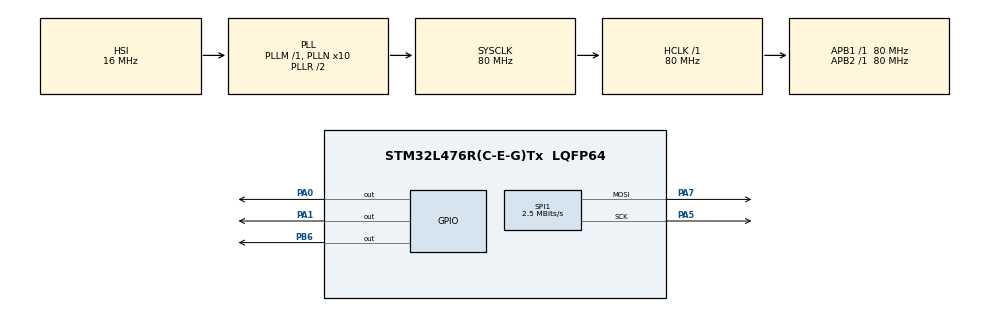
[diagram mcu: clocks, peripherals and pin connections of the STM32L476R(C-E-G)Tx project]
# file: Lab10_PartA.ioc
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Mcu.Family=STM32L4
Mcu.Name=STM32L476R(C-E-G)Tx
Mcu.Package=LQFP64
NVIC.PriorityGroup=NVIC_PRIORITYGROUP_4
PA0.Signal=GPIO_Output
PA1.Signal=GPIO_Output
PA13\ (JTMS-SWDIO).GPIO_Label=TMS
PA13\ (JTMS-SWDIO).Mode=Serial_Wire
PA13\ (JTMS-SWDIO).Signal=SYS_JTMS-SWDIO
PA14\ (JTCK-SWCLK).GPIO_Label=TCK
PA14\ (JTCK-SWCLK).Mode=Serial_Wire
PA14\ (JTCK-SWCLK).Signal=SYS_JTCK-SWCLK
PA5.Mode=TX_Only_Simplex_Unidirect_Master
PA5.Signal=SPI1_SCK
PA7.Mode=TX_Only_Simplex_Unidirect_Master
PA7.Signal=SPI1_MOSI
PB3\ (JTDO-TRACESWO).GPIO_Label=SWO
PB3\ (JTDO-TRACESWO).Signal=SYS_JTDO-SWO
PB6.Signal=GPIO_Output
PC14-OSC32_IN\ (PC14).Mode=LSE-External-Oscillator
PC14-OSC32_IN\ (PC14).Signal=RCC_OSC32_IN
PC15-OSC32_OUT\ (PC15).Mode=LSE-External-Oscillator
PC15-OSC32_OUT\ (PC15).Signal=RCC_OSC32_OUT
PH0-OSC_IN\ (PH0).Signal=RCC_OSC_IN
PH1-OSC_OUT\ (PH1).Signal=RCC_OSC_OUT
ProjectManager.HeapSize=0x200
ProjectManager.StackSize=0x400
ProjectManager.TargetToolchain=STM32CubeIDE
RCC.ADCFreq_Value=64000000
RCC.AHBFreq_Value=80000000
RCC.APB1Freq_Value=80000000
RCC.APB1TimFreq_Value=80000000
RCC.APB2Freq_Value=80000000
RCC.APB2TimFreq_Value=80000000
RCC.CortexFreq_Value=80000000
RCC.HCLKFreq_Value=80000000
RCC.HSE_VALUE=8000000
RCC.HSI_VALUE=16000000
RCC.MSI_VALUE=4000000
RCC.PLLN=10
RCC.PLLSourceVirtual=RCC_PLLSOURCE_HSI
RCC.PREFETCH_ENABLE=1
RCC.SYSCLKFreq_VALUE=80000000
RCC.SYSCLKSource=RCC_SYSCLKSOURCE_PLLCLK
RCC.USBFreq_Value=64000000
RCC.VCOOutputFreq_Value=160000000
SPI1.BaudRatePrescaler=SPI_BAUDRATEPRESCALER_32
SPI1.CalculateBaudRate=2.5 MBits/s
SPI1.DataSize=SPI_DATASIZE_8BIT
SPI1.Direction=SPI_DIRECTION_2LINES
SPI1.Mode=SPI_MODE_MASTER
SPI1.VirtualType=VM_MASTER
board=NUCLEO-L476RG

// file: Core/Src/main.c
/* USER CODE BEGIN Header */
/**
  ******************************************************************************
  * @file           : main.c
  * @brief          : Main program body
  ******************************************************************************
  * @attention
  *
  * Copyright (c) 2023 STMicroelectronics.
  * All rights reserved.
  *
  * This software is licensed under terms that can be found in the LICENSE file
  * in the root directory of this software component.
  * If no LICENSE file comes with this software, it is provided AS-IS.
  *
  ******************************************************************************
  */
/* USER CODE END Header */
#include "main.h"

/* USER CODE BEGIN PM */
#define CE_PORT GPIOB // PB6 chip enable (aka slave select)
#define CE_PIN GPIO_PIN_6
#define DC_PORT GPIOA // PA0 data/control
#define DC_PIN GPIO_PIN_0
#define RESET_PORT GPIOA // PA1 reset
#define RESET_PIN GPIO_PIN_1
#define GLCD_WIDTH 84
#define GLCD_HEIGHT 48
#define NUM_BANKS 6
/* USER CODE END PM */

SPI_HandleTypeDef hspi1;

/* USER CODE BEGIN PV */
const char font_table[][6] = {
	{0x00, 0x00, 0x00, 0x00, 0x00, 0x00}, // space						0
	{0x00, 0x00, 0x40, 0x00, 0x00, 0x00}, // period						1
	{0x00, 0x00, 0x5F, 0x00, 0x00, 0x00}, // !							2
	{0x00, 0x00, 0x7E, 0x81, 0xB5, 0xA1}, // left smiley face			3
	{0xA1, 0xB5, 0x81, 0x7E, 0x00, 0x00}, // right smiley face			4
	{0x3E, 0x41, 0x41, 0x7F, 0x40, 0x20}, // 'A'						5
	{0x7F, 0x49, 0x49, 0x76, 0x40, 0x20}, // 'B'						6
	{0x3E, 0x41, 0x41, 0x41, 0x40, 0x20}, // 'C'						7
	{0x7F, 0x41, 0x41, 0x7E, 0x40, 0x20}, // 'D'						8
	{0x3E, 0x49, 0x49, 0x49, 0x40, 0x20}, // 'E'						9
	{0x7F, 0x09, 0x09, 0x09, 0x10, 0x20}, // 'F'						10
	{0x3E, 0x41, 0x49, 0x39, 0x10, 0x20}, // 'G'						11
	{0x7F, 0x08, 0x08, 0x7F, 0x40, 0x20}, // 'H'						12
	{0x41, 0x7F, 0x41, 0x41, 0x40, 0x20}, // 'I'						13
	{0x21, 0x51, 0x7F, 0x21, 0x20, 0x20}, // 'J'						14
	{0x7F, 0x0C, 0x12, 0x21, 0x40, 0x20}, // 'K'						15
	{0x04, 0x7E, 0x45, 0x42, 0x40, 0x20}, // 'L'						16
	{0x7F, 0x02, 0x04, 0x02, 0x7F, 0x20}, // 'M'						17
	{0x7F, 0x04, 0x08, 0x10, 0x7F, 0x20}, // 'N'						18
	{0x3E, 0x41, 0x41, 0x3E, 0x20, 0x20}, // 'O'						19
	{0x7E, 0x11, 0x11, 0x1E, 0x10, 0x20}, // 'P'						20
	{0x3E, 0x49, 0x51, 0x3E, 0x20, 0x20}, // 'Q'						21
	{0x7F, 0x19, 0x29, 0x46, 0x40, 0x20}, // 'R'						22
	{0x46, 0x49, 0x49, 0x71, 0x40, 0x20}, // 'S'						23
	{0x01, 0x01, 0x7F, 0x41, 0x41, 0x20}, // 'T'						24
	{0x3F, 0x40, 0x40, 0x3F, 0x20, 0x20}, // 'U'						25
	{0x7F, 0x20, 0x10, 0x1F, 0x10, 0x20}, // 'V'						26
	{0x7F, 0x20, 0x10, 0x20, 0x7F, 0x20}, // 'W'						27
	{0x41, 0x22, 0x1C, 0x24, 0x42, 0x20}, // 'X'						28
	{0x4F, 0x50, 0x50, 0x7F, 0x40, 0x20}, // 'Y'						29
	{0x71, 0x49, 0x45, 0x47, 0x40, 0x20}  // 'Z'						30
};

/* USER CODE END PV */

void SystemClock_Config(void);
static void MX_GPIO_Init(void);
static void MX_SPI1_Init(void);
/* USER CODE BEGIN PFP */
void SPI_write(unsigned char data);
void GLCD_data_write(unsigned char data);
void GLCD_command_write(unsigned char data);
void GLCD_init(void);
void GLCD_setCursor(unsigned char x, unsigned char y);
void GLCD_clear(void);
void GLCD_putchar(int font_table_row);
/* USER CODE END PFP */

int main(void)
{

  /* MCU Configuration--------------------------------------------------------*/

  /* Reset of all peripherals, Initializes the Flash interface and the Systick. */
  HAL_Init();

  /* Configure the system clock */
  SystemClock_Config();

  /* Initialize all configured peripherals */
  MX_GPIO_Init();
  MX_SPI1_Init();
  /* USER CODE BEGIN 2 */
  int animation[] = {
		  12,9,16,16,19,0,27,19,22,16,8,2,3,4
  };

  GLCD_init(); // initialize the screen
  GLCD_clear(); // clear the screen
  /* USER CODE END 2 */

  /* Infinite loop */
  while (1)
  {

    /* USER CODE BEGIN 3 */
	  int size = sizeof(animation)/sizeof(animation[0]);
	  for (int i=0; i < size; ++i)
	  {
		  GLCD_putchar(animation[i]);
		  if (i < size - 2)
			  HAL_Delay(500);
	  }
	  HAL_Delay(5000);
	  GLCD_clear();
  }
  /* USER CODE END 3 */
}

void SystemClock_Config(void)
{
  RCC_OscInitTypeDef RCC_OscInitStruct = {0};
  RCC_ClkInitTypeDef RCC_ClkInitStruct = {0};

  /** Configure the main internal regulator output voltage
  */
  if (HAL_PWREx_ControlVoltageScaling(PWR_REGULATOR_VOLTAGE_SCALE1) != HAL_OK)
  {
    Error_Handler();
  }

  /** Initializes the RCC Oscillators according to the specified parameters
  * in the RCC_OscInitTypeDef structure.
  */
  RCC_OscInitStruct.OscillatorType = RCC_OSCILLATORTYPE_HSI;
  RCC_OscInitStruct.HSIState = RCC_HSI_ON;
  RCC_OscInitStruct.HSICalibrationValue = RCC_HSICALIBRATION_DEFAULT;
  RCC_OscInitStruct.PLL.PLLState = RCC_PLL_ON;
  RCC_OscInitStruct.PLL.PLLSource = RCC_PLLSOURCE_HSI;
  RCC_OscInitStruct.PLL.PLLM = 1;
  RCC_OscInitStruct.PLL.PLLN = 10;
  RCC_OscInitStruct.PLL.PLLP = RCC_PLLP_DIV7;
  RCC_OscInitStruct.PLL.PLLQ = RCC_PLLQ_DIV2;
  RCC_OscInitStruct.PLL.PLLR = RCC_PLLR_DIV2;
  if (HAL_RCC_OscConfig(&RCC_OscInitStruct) != HAL_OK)
  {
    Error_Handler();
  }

  /** Initializes the CPU, AHB and APB buses clocks
  */
  RCC_ClkInitStruct.ClockType = RCC_CLOCKTYPE_HCLK|RCC_CLOCKTYPE_SYSCLK
                              |RCC_CLOCKTYPE_PCLK1|RCC_CLOCKTYPE_PCLK2;
  RCC_ClkInitStruct.SYSCLKSource = RCC_SYSCLKSOURCE_PLLCLK;
  RCC_ClkInitStruct.AHBCLKDivider = RCC_SYSCLK_DIV1;
  RCC_ClkInitStruct.APB1CLKDivider = RCC_HCLK_DIV1;
  RCC_ClkInitStruct.APB2CLKDivider = RCC_HCLK_DIV1;

  if (HAL_RCC_ClockConfig(&RCC_ClkInitStruct, FLASH_LATENCY_4) != HAL_OK)
  {
    Error_Handler();
  }
}

static void MX_SPI1_Init(void)
{

  /* SPI1 parameter configuration*/
  hspi1.Instance = SPI1;
  hspi1.Init.Mode = SPI_MODE_MASTER;
  hspi1.Init.Direction = SPI_DIRECTION_2LINES;
  hspi1.Init.DataSize = SPI_DATASIZE_8BIT;
  hspi1.Init.CLKPolarity = SPI_POLARITY_LOW;
  hspi1.Init.CLKPhase = SPI_PHASE_1EDGE;
  hspi1.Init.NSS = SPI_NSS_SOFT;
  hspi1.Init.BaudRatePrescaler = SPI_BAUDRATEPRESCALER_32;
  hspi1.Init.FirstBit = SPI_FIRSTBIT_MSB;
  hspi1.Init.TIMode = SPI_TIMODE_DISABLE;
  hspi1.Init.CRCCalculation = SPI_CRCCALCULATION_DISABLE;
  hspi1.Init.CRCPolynomial = 7;
  hspi1.Init.CRCLength = SPI_CRC_LENGTH_DATASIZE;
  hspi1.Init.NSSPMode = SPI_NSS_PULSE_ENABLE;
  if (HAL_SPI_Init(&hspi1) != HAL_OK)
  {
    Error_Handler();
  }

}

static void MX_GPIO_Init(void)
{
  GPIO_InitTypeDef GPIO_InitStruct = {0};

  /* GPIO Ports Clock Enable */
  __HAL_RCC_GPIOC_CLK_ENABLE();
  __HAL_RCC_GPIOH_CLK_ENABLE();
  __HAL_RCC_GPIOA_CLK_ENABLE();
  __HAL_RCC_GPIOB_CLK_ENABLE();

  /*Configure GPIO pin Output Level */
  HAL_GPIO_WritePin(GPIOA, GPIO_PIN_0|GPIO_PIN_1, GPIO_PIN_RESET);

  /*Configure GPIO pin Output Level */
  HAL_GPIO_WritePin(GPIOB, GPIO_PIN_6, GPIO_PIN_RESET);

  /*Configure GPIO pins : PA0 PA1 */
  GPIO_InitStruct.Pin = GPIO_PIN_0|GPIO_PIN_1;
  GPIO_InitStruct.Mode = GPIO_MODE_OUTPUT_PP;
  GPIO_InitStruct.Pull = GPIO_NOPULL;
  GPIO_InitStruct.Speed = GPIO_SPEED_FREQ_LOW;
  HAL_GPIO_Init(GPIOA, &GPIO_InitStruct);

  /*Configure GPIO pin : PB6 */
  GPIO_InitStruct.Pin = GPIO_PIN_6;
  GPIO_InitStruct.Mode = GPIO_MODE_OUTPUT_PP;
  GPIO_InitStruct.Pull = GPIO_NOPULL;
  GPIO_InitStruct.Speed = GPIO_SPEED_FREQ_LOW;
  HAL_GPIO_Init(GPIOB, &GPIO_InitStruct);

}

/* USER CODE BEGIN 4 */
void SPI_write(unsigned char data)
{
	// Chip Enable (low is asserted)
	HAL_GPIO_WritePin(CE_PORT, CE_PIN, GPIO_PIN_RESET);
	// Send data over SPI1
	HAL_SPI_Transmit(&hspi1, (uint8_t*) &data, 1, HAL_MAX_DELAY);
	// Chip Disable
	HAL_GPIO_WritePin(CE_PORT, CE_PIN, GPIO_PIN_SET);
}

void GLCD_data_write(unsigned char data)
{
	// Switch to "data" mode (D/C pin high)
	HAL_GPIO_WritePin(DC_PORT, DC_PIN, GPIO_PIN_SET);
	// Send data over SPI
	SPI_write(data);
}

void GLCD_command_write(unsigned char data)
{
	// Switch to "command" mode (D/C pin low)
	HAL_GPIO_WritePin(DC_PORT, DC_PIN, GPIO_PIN_RESET);
	// Send data over SPI
	SPI_write(data);
}

void GLCD_init(void)
{
	// Keep CE high when not transmitting
	HAL_GPIO_WritePin(CE_PORT, CE_PIN, GPIO_PIN_SET);
	// Reset the screen (low pulse - down & up)
	HAL_GPIO_WritePin(RESET_PORT, RESET_PIN, GPIO_PIN_RESET);
	HAL_GPIO_WritePin(RESET_PORT, RESET_PIN, GPIO_PIN_SET);
	// Configure the screen (according to the datasheet)
	GLCD_command_write(0x21); // enter extended command mode
	GLCD_command_write(0xB0); // set LCD Vop for contrast (this may be adjusted)
	GLCD_command_write(0x04); // set temp coefficient
	GLCD_command_write(0x15); // set LCD bias mode (this may be adjusted)
	GLCD_command_write(0x20); // return to normal command mode
	GLCD_command_write(0x0C); // set display mode normal
}

void GLCD_setCursor(unsigned char x, unsigned char y)
{
	GLCD_command_write(0x80 | x); // column
	GLCD_command_write(0x40 | y); // bank
}

void GLCD_clear(void)
{
	int i;
	for(i = 0; i < (GLCD_WIDTH * NUM_BANKS); i++)
	{
		GLCD_data_write(0x00); // write zeros
	}
	GLCD_setCursor(0,0); // return cursor to top left
}

void GLCD_putchar(int font_table_row)
{
	// go through each value in order to print the character
	int i;
	for (i=0; i<6; i++){
		GLCD_data_write(font_table[font_table_row][i]);
	}
}
/* USER CODE END 4 */

void Error_Handler(void)
{
  __disable_irq();
  while (1)
  {
  }
}
